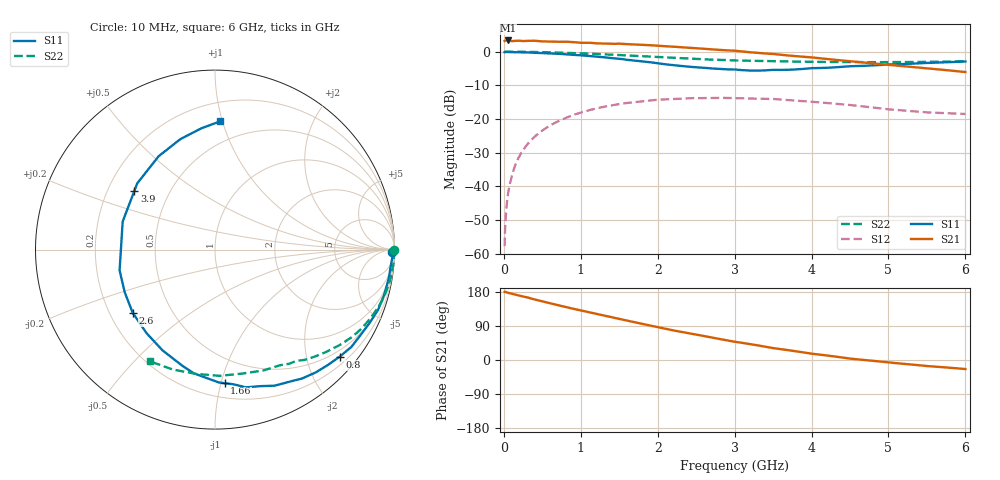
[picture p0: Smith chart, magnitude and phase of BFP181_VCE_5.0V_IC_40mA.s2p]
! Infineon Technologies  Discrete & RF Semiconductors
! BFP181
! VCE = 5.0 V,  IC =  40 mA
! Common Emitter S-Parameters:  Jan 2016
# GHz  S  MA  R  50
!  f  S11  S21  S12  S22
! GHz  MAG  ANG  MAG  ANG  MAG  ANG  MAG  ANG
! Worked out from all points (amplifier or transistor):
!   210 points, 10 MHz to 6 GHz, reference 50 ohm
!   highest |S21| = 3.3 dB at 50 MHz (marker M1)
!   |S21| within 3 dB of that: start of sweep to 2.956 GHz
!   unconditionally stable (mu >= 1): 3.791 GHz to end of sweep
!   at 185 MHz: K = 0.06, MSG = 17.5 dB, |S12| = -31.8 dB
!   at 1.52 GHz: K = 0.44, MSG = 8.9 dB, |S12| = -15.5 dB
!   at 6 GHz: K = 1.49, MAG = 2.1 dB, |S12| = -18.5 dB
!   S11 on the Smith chart (normalised r, x): 10 MHz: 71, -66; 800 MHz: 0.36, -2.65; 1.66 GHz: 0.31, -1.03; 2.6 GHz: 0.30, -0.31; 3.9 GHz: 0.31, +0.30; 6 GHz: 0.34, +0.98
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0.01  0.985 -0.8  1.442 179.7  0.0013 79.3  0.9989 -0.2
0.015  0.9861 -0.9  1.45 179.8  0.0021 83.4  0.9985 -0.3
0.025  0.9876 -1.1  1.459 179.5  0.0036 87.3  0.9982 -0.6
0.05  0.9899 -2.2  1.467 177.6  0.0072 91.4  0.9982 -1.3
0.09  0.984 -4.6  1.44 175.5  0.0125 85.9  0.9978 -2.3
0.14  0.9822 -7.3  1.446 173.0  0.0196 84.3  0.9974 -3.5
0.28  0.9754 -14.2  1.442 166.2  0.0387 79.6  0.9936 -7.0
0.5  0.9532 -25.4  1.421 154.5  0.0676 71.3  0.9847 -12.4
0.8  0.9154 -40.7  1.409 140.1  0.1033 60.5  0.9639 -19.6
1.02  0.8806 -51.7  1.355 129.8  0.1266 52.8  0.9427 -24.6
1.3  0.8279 -66.3  1.32 117.4  0.1521 43.3  0.9141 -30.8
1.66  0.7461 -85.9  1.284 101.5  0.1764 32.7  0.8723 -37.8
2.02  0.6682 -106.5  1.221 85.9  0.1941 22.7  0.8324 -44.1
2.2  0.633 -117.5  1.188 78.2  0.1994 17.9  0.8128 -47.4
2.6  0.5781 -142.5  1.109 63.3  0.2046 8.5  0.7682 -53.8
3.1  0.5317 -173.4  1.006 45.2  0.2031 -2.8  0.7362 -61.9
3.5  0.5376 163.1  0.925 31.4  0.1988 -10.4  0.725 -68.3
3.9  0.5556 144.0  0.839 19.9  0.1843 -16.4  0.7092 -75.7
4.1  0.5719 135.7  0.8 14.4  0.177 -19.1  0.7047 -79.6
4.5  0.6077 121.1  0.723 3.7  0.1616 -23.8  0.7039 -87.9
5.1  0.6502 105.1  0.623 -8.3  0.1368 -24.5  0.6998 -100.7
6  0.7157 87.6  0.499 -23.9  0.119 -17.3  0.7208 -120.4
